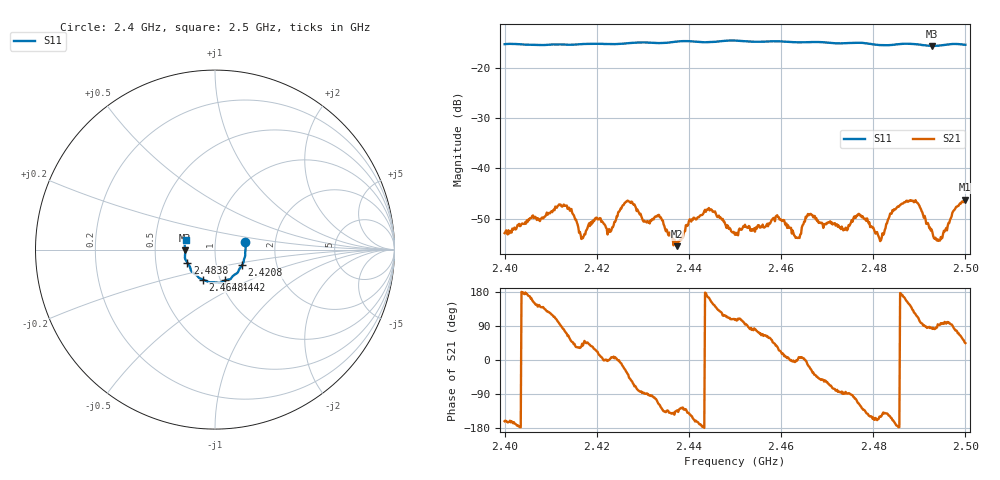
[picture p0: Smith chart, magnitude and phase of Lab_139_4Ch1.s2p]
# Hz S RI R 50
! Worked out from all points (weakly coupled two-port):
!   601 points, 2.4 GHz to 2.5 GHz, reference 50 ohm
!   highest |S21| = -46.23 dB at 2.4998 GHz (marker M1); lowest = -55.5 dB at 2.4373 GHz (marker M2)
!   lowest |S11| = -15.6 dB at 2.4928 GHz (marker M3), VSWR 1.40, Z = 35.8 - j0.345 ohm
!   |S11| at or under -10 dB: start of sweep to end of sweep
!   S12 and S22 are empty: the file has one direction only
!   S11 on the Smith chart (normalised r, x): 2.4 GHz: 1.40, +0.12; 2.4208 GHz: 1.33, -0.24; 2.4442 GHz: 1.05, -0.37; 2.4648 GHz: 0.83, -0.29; 2.4838 GHz: 0.73, -0.11; 2.5 GHz: 0.72, +0.08
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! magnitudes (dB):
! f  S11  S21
! 2.4 GHz  -15.3  -52.9
! 2.4123 GHz  -15.3  -47.5
! 2.4167 GHz  -15.2  -54.0
! 2.4208 GHz  -15.2  -49.9
! 2.4228 GHz  -15.2  -52.6
! 2.4267 GHz  -15.1  -46.4
! 2.4333 GHz  -15.0  -49.3
! 2.4373 GHz  -14.7  -55.5
! 2.4442 GHz  -14.9  -48.0
! 2.45 GHz  -14.5  -53.2
! 2.4648 GHz  -14.9  -51.1
! 2.4667 GHz  -14.8  -49.3
! 2.474 GHz  -15.0  -51.8
! 2.4772 GHz  -15.0  -49.4
! 2.4817 GHz  -15.4  -54.3
! 2.4833 GHz  -15.5  -50.0
! 2.4838 GHz  -15.4  -49.0
! 2.4892 GHz  -15.3  -46.3
! 2.4928 GHz  -15.6  -52.7
! 2.4945 GHz  -15.5  -54.3
! 2.4998 GHz  -15.4  -46.2
! 2.5 GHz  -15.4  -46.4
